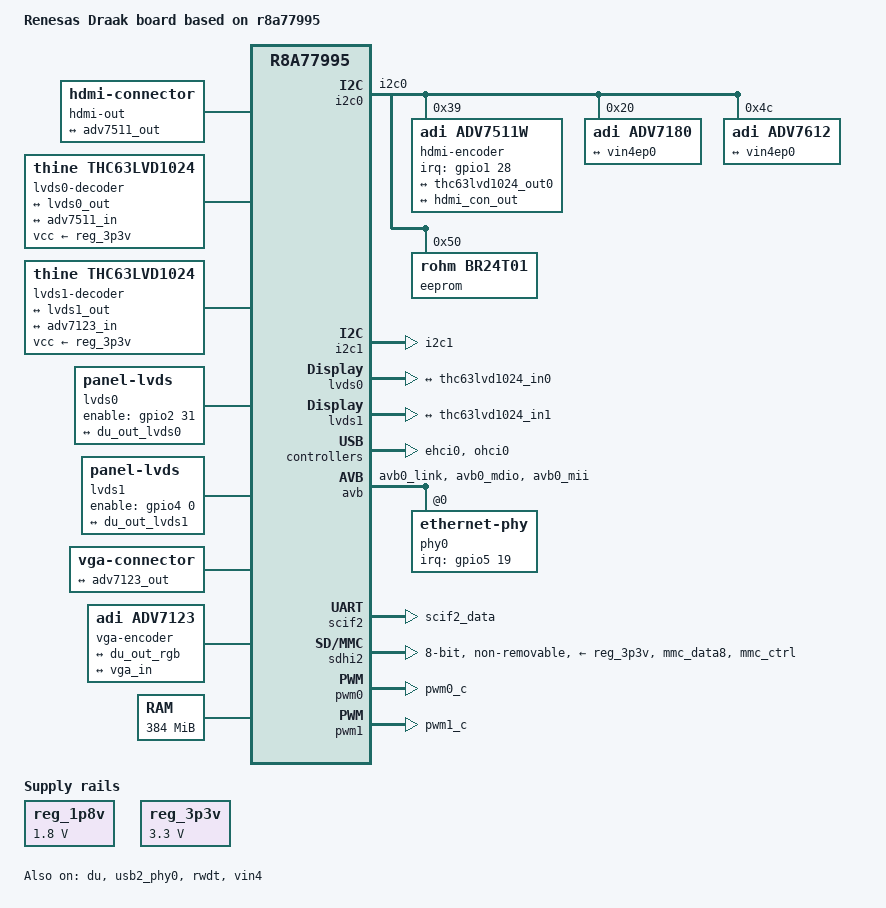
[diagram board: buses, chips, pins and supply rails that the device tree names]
/*
 * Device Tree Source for the Draak board
 *
 * Copyright (C) 2016 Renesas Electronics Corp.
 * Copyright (C) 2017 Glider bvba
 *
 * This file is licensed under the terms of the GNU General Public License
 * version 2.  This program is licensed "as is" without any warranty of any
 * kind, whether express or implied.
 */

/dts-v1/;
#include "r8a77995.dtsi"
#include <dt-bindings/gpio/gpio.h>

/ {
	model = "Renesas Draak board based on r8a77995";
	compatible = "renesas,draak", "renesas,r8a77995";

	aliases {
		serial0 = &scif2;
		ethernet0 = &avb;
	};

	chosen {
		bootargs = "ignore_loglevel";
		stdout-path = "serial0:115200n8";
	};

	hdmi-out {
		compatible = "hdmi-connector";
		type = "a";

		port {
			hdmi_con_out: endpoint {
				remote-endpoint = <&adv7511_out>;
			};
		};
	};

	lvds0-decoder {
		compatible = "thine,thc63lvd1024";
		vcc-supply = <&reg_3p3v>;

		ports {
			#address-cells = <1>;
			#size-cells = <0>;

			port@0 {
				reg = <0>;
				thc63lvd1024_in0: endpoint {
					remote-endpoint = <&lvds0_out>;
				};
			};

			port@2 {
				reg = <2>;
				thc63lvd1024_out0: endpoint {
					remote-endpoint = <&adv7511_in>;
				};
			};
		};
	};

	lvds1-decoder {
		compatible = "thine,thc63lvd1024";
		vcc-supply = <&reg_3p3v>;

		ports {
			#address-cells = <1>;
			#size-cells = <0>;

			port@0 {
				reg = <0>;
				thc63lvd1024_in1: endpoint {
					remote-endpoint = <&lvds1_out>;
				};
			};

			port@2 {
				reg = <2>;
				thc63lvd1024_out1: endpoint {
					remote-endpoint = <&adv7123_in>;
				};
			};
		};
	};

	lvds0 {
		compatible = "panel-lvds";

		width-mm = <210>;
		height-mm = <158>;

		data-mapping = "jeida-24";
		enable-gpios = <&gpio2 31 GPIO_ACTIVE_HIGH>;

		panel-timing {
			/* 1024x768 @60Hz */
			clock-frequency = <65000000>;
			hactive = <1024>;
			vactive = <768>;
			hsync-len = <136>;
			hfront-porch = <20>;
			hback-porch = <160>;
			vfront-porch = <3>;
			vback-porch = <29>;
			vsync-len = <6>;
		};

		port {
			lvds0_panel_in: endpoint {
				remote-endpoint = <&du_out_lvds0>;
			};
		};
	};

	lvds1 {
		compatible = "panel-lvds";

		width-mm = <210>;
		height-mm = <158>;

		data-mapping = "jeida-24";
		enable-gpios = <&gpio4 0 GPIO_ACTIVE_HIGH>;

		panel-timing {
			/* 1024x768 @60Hz */
			clock-frequency = <65000000>;
			hactive = <1024>;
			vactive = <768>;
			hsync-len = <136>;
			hfront-porch = <20>;
			hback-porch = <160>;
			vfront-porch = <3>;
			vback-porch = <29>;
			vsync-len = <6>;
		};

		port {
			lvds1_panel_in: endpoint {
				remote-endpoint = <&du_out_lvds1>;
			};
		};
	};

	vga {
		compatible = "vga-connector";

		no-use-ddc;

		width = <800>;
		height = <600>;
		max-pixelclock = <50000>;

		port {
			vga_in: endpoint {
				remote-endpoint = <&adv7123_out>;
			};
		};
	};

	vga-encoder {
		compatible = "adi,adv7123";

		ports {
			#address-cells = <1>;
			#size-cells = <0>;

			port@0 {
				reg = <0>;
				adv7123_in: endpoint {
					remote-endpoint = <&du_out_rgb>;
				};
			};
			port@1 {
				reg = <1>;
				adv7123_out: endpoint {
					remote-endpoint = <&vga_in>;
				};
			};
		};
	};

	memory@48000000 {
		device_type = "memory";
		/* first 128MB is reserved for secure area. */
		reg = <0x0 0x48000000 0x0 0x18000000>;
	};

	reg_1p8v: regulator0 {
		compatible = "regulator-fixed";
		regulator-name = "fixed-1.8V";
		regulator-min-microvolt = <1800000>;
		regulator-max-microvolt = <1800000>;
		regulator-boot-on;
		regulator-always-on;
	};

	reg_3p3v: regulator1 {
		compatible = "regulator-fixed";
		regulator-name = "fixed-3.3V";
		regulator-min-microvolt = <3300000>;
		regulator-max-microvolt = <3300000>;
		regulator-boot-on;
		regulator-always-on;
	};

	x12_clk: x12 {
		compatible = "fixed-clock";
		#clock-cells = <0>;
		clock-frequency = <74250000>;
	};
};

&extal_clk {
	clock-frequency = <48000000>;
};

&pfc {
	avb0_pins: avb {
		mux {
			groups = "avb0_link", "avb0_mdio", "avb0_mii";
			function = "avb0";
		};
	};

	du_pins: du {
		groups = "du_rgb888", "du_sync", "du_disp", "du_clk_out_0";
		function = "du";
	};

	i2c0_pins: i2c0 {
		groups = "i2c0";
		function = "i2c0";
	};

	i2c1_pins: i2c1 {
		groups = "i2c1";
		function = "i2c1";
	};

	pwm0_pins: pwm0 {
		groups = "pwm0_c";
		function = "pwm0";
	};

	pwm1_pins: pwm1 {
		groups = "pwm1_c";
		function = "pwm1";
	};

	scif2_pins: scif2 {
		groups = "scif2_data";
		function = "scif2";
	};

	sdhi2_pins: sd2 {
		groups = "mmc_data8", "mmc_ctrl";
		function = "mmc";
		power-source = <1800>;
	};

	sdhi2_pins_uhs: sd2_uhs {
		groups = "mmc_data8", "mmc_ctrl";
		function = "mmc";
		power-source = <1800>;
	};

	usb0_pins: usb0 {
		groups = "usb0";
		function = "usb0";
	};
};

&i2c0 {
	pinctrl-0 = <&i2c0_pins>;
	pinctrl-names = "default";
	status = "okay";

	hdmi-encoder@39 {
		compatible = "adi,adv7511w";
		reg = <0x39>;
		interrupt-parent = <&gpio1>;
		interrupts = <28 IRQ_TYPE_LEVEL_LOW>;

		adi,input-depth = <8>;
		adi,input-colorspace = "rgb";
		adi,input-clock = "1x";
		adi,input-style = <1>;
		adi,input-justification = "evenly";

		ports {
			#address-cells = <1>;
			#size-cells = <0>;

			port@0 {
				reg = <0>;
				adv7511_in: endpoint {
					remote-endpoint = <&thc63lvd1024_out0>;
				};
			};

			port@1 {
				reg = <1>;
				adv7511_out: endpoint {
					remote-endpoint = <&hdmi_con_out>;
				};
			};
		};
	};

	adv7180@20 {
		compatible = "adi,adv7180";
		reg = <0x20>;
		remote = <&vin4>;

		port {
			cvbs_in: endpoint {
				bus-width = <8>;
				remote-endpoint = <&vin4ep0>;
			};
		};
	};

	adv7612: adv7612@4c {
		compatible = "adi,adv7612";
		reg = <0x4c>;
		remote = <&vin4>;

		#address-cells = <1>;
		#size-cells = <0>;

		default-input = <0>;

		port@0 {
			reg = <0>;
		};
		port@1 {
			reg = <1>;
			hdmi_in: endpoint {
				remote-endpoint = <&vin4ep0>;
			};

		};
	};

	eeprom@50 {
		compatible = "rohm,br24t01", "atmel,24c01";
		reg = <0x50>;
		pagesize = <8>;
	};
};

&i2c1 {
	pinctrl-0 = <&i2c1_pins>;
	pinctrl-names = "default";
	status = "okay";
};

&lvds0 {
	status = "okay";

	clocks = <&cpg CPG_MOD 727>,
		 <&x12_clk>,
		 <&extal_clk>;
	clock-names = "fck", "dclkin.0", "extal";

	ports {
		port@1 {
			lvds0_out: endpoint {
				remote-endpoint = <&thc63lvd1024_in0>;
			};
		};
	};
};

&lvds1 {
	status = "okay";

	clocks = <&cpg CPG_MOD 727>,
		 <&extal_clk>;
	clock-names = "fck", "extal";

	ports {
		port@1 {
			lvds1_out: endpoint {
				remote-endpoint = <&thc63lvd1024_in1>;
			};
		};
	};
};

&du {
	pinctrl-0 = <&du_pins>;
	pinctrl-names = "default";
	status = "okay";

	clocks = <&cpg CPG_MOD 724>,
		 <&cpg CPG_MOD 723>,
		 <&x12_clk>;
	clock-names = "du.0", "du.1", "dclkin.0";
};

&ehci0 {
	status = "okay";
};

&ohci0 {
	status = "okay";
};

&avb {
	pinctrl-0 = <&avb0_pins>;
	pinctrl-names = "default";
	renesas,no-ether-link;
	phy-handle = <&phy0>;
	phy-mode = "rgmii-txid";
	status = "okay";

	phy0: ethernet-phy@0 {
		rxc-skew-ps = <1500>;
		reg = <0>;
		interrupt-parent = <&gpio5>;
		interrupts = <19 IRQ_TYPE_LEVEL_LOW>;
	};
};

&scif2 {
	pinctrl-0 = <&scif2_pins>;
	pinctrl-names = "default";

	status = "okay";
};

&sdhi2 {
	/* used for on-board eMMC */
	pinctrl-0 = <&sdhi2_pins>;
	pinctrl-1 = <&sdhi2_pins_uhs>;
	pinctrl-names = "default", "state_uhs";

	vmmc-supply = <&reg_3p3v>;
	vqmmc-supply = <&reg_1p8v>;
	bus-width = <8>;
	mmc-hs200-1_8v;
	non-removable;
	status = "okay";
};

&usb2_phy0 {
	pinctrl-0 = <&usb0_pins>;
	pinctrl-names = "default";

	status = "okay";
};

&pwm0 {
	pinctrl-0 = <&pwm0_pins>;
	pinctrl-names = "default";

	status = "okay";
};

&pwm1 {
	pinctrl-0 = <&pwm1_pins>;
	pinctrl-names = "default";

	status = "okay";
};

&rwdt {
	timeout-sec = <60>;
	status = "okay";
};

&vin4 {
	status = "okay";

	port {
		#address-cells = <1>;
		#size-cells = <0>;

		vin4ep0: endpoint {
			remote-endpoint = <&hdmi_in>;
			bus-width = <8>;
			hsync-active = <0>;
			vsync-active = <0>;
		};
	};
};
